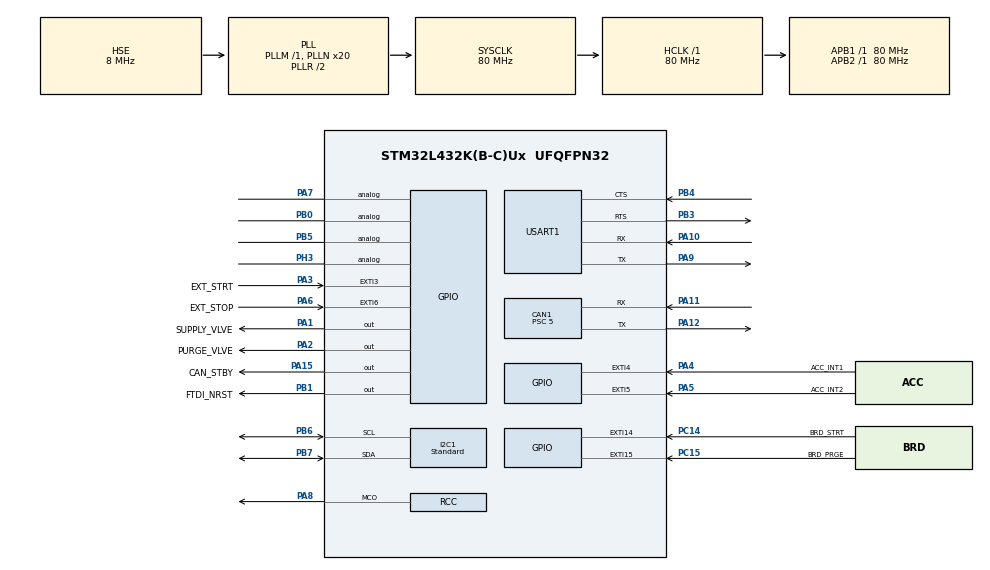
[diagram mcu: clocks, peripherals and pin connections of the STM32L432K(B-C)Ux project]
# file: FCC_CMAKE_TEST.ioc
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CAN1.BS1=CAN_BS1_11TQ
CAN1.BS2=CAN_BS2_4TQ
CAN1.CalculateBaudRate=1000000
CAN1.CalculateTimeBit=1000
CAN1.CalculateTimeQuantum=62.5
CAN1.Mode=CAN_MODE_NORMAL
CAN1.Prescaler=5
Dma.Request0=USART1_RX
Dma.Request1=USART1_TX
Dma.USART1_RX.0.Direction=DMA_PERIPH_TO_MEMORY
Dma.USART1_RX.0.Instance=DMA1_Channel5
Dma.USART1_RX.0.MemDataAlignment=DMA_MDATAALIGN_BYTE
Dma.USART1_RX.0.MemInc=DMA_MINC_ENABLE
Dma.USART1_RX.0.Mode=DMA_CIRCULAR
Dma.USART1_RX.0.PeriphDataAlignment=DMA_PDATAALIGN_BYTE
Dma.USART1_RX.0.PeriphInc=DMA_PINC_DISABLE
Dma.USART1_RX.0.Priority=DMA_PRIORITY_LOW
Dma.USART1_TX.1.Direction=DMA_MEMORY_TO_PERIPH
Dma.USART1_TX.1.Instance=DMA1_Channel4
Dma.USART1_TX.1.MemDataAlignment=DMA_MDATAALIGN_BYTE
Dma.USART1_TX.1.MemInc=DMA_MINC_ENABLE
Dma.USART1_TX.1.Mode=DMA_NORMAL
Dma.USART1_TX.1.PeriphDataAlignment=DMA_PDATAALIGN_BYTE
Dma.USART1_TX.1.PeriphInc=DMA_PINC_DISABLE
Dma.USART1_TX.1.Priority=DMA_PRIORITY_LOW
FREERTOS.BinarySemaphores01=canMsgOkSem,Dynamic,NULL
FREERTOS.Queues01=canRxDataQueue,128,uint32_t,0,Static,canRxDataQueueBuffer,canRxDataQueueControlBlock;canRxRtrQueue,128,uint32_t,0,Static,canRxRtrQueueBuffer,canRxRtrQueueControlBlock
FREERTOS.Tasks01=CanRxTask,25,128,StartCanRxTask,Default,NULL,Static,CanRxTaskBuffer,CanRxTaskControlBlock;I2cTask,26,128,StartI2cTask,Default,NULL,Static,I2cTaskBuffer,I2cTaskControlBlock;FuelCellTask,27,512,StartFuelCellTask,Default,NULL,Static,FuelCellTaskBuffer,FuelCellTaskControlBlock;CanRtrTask,28,128,StartCanRtrTask,Default,NULL,Static,CanRtrTaskBuffer,CanRtrTaskControlBlock;PurgeTask,33,128,StartPurgeTask,Default,NULL,Static,PurgeTaskBuffer,PurgeTaskControlBlock
FREERTOS.configENABLE_FPU=1
FREERTOS.configUSE_NEWLIB_REENTRANT=1
I2C1.I2C_Speed_Mode=I2C_Standard
I2C1.Timing=0x10D19CE4
Mcu.Family=STM32L4
Mcu.Name=STM32L432K(B-C)Ux
Mcu.Package=UFQFPN32
NVIC.CAN1_RX0_IRQn=true\:5\:0\:false\:false\:true\:true\:true\:true\:true
NVIC.CAN1_RX1_IRQn=true\:5\:0\:false\:false\:true\:true\:true\:true\:true
NVIC.CAN1_TX_IRQn=true\:5\:0\:false\:false\:true\:true\:true\:true\:true
NVIC.DMA1_Channel4_IRQn=true\:5\:0\:false\:false\:true\:true\:false\:true\:true
NVIC.DMA1_Channel5_IRQn=true\:5\:0\:false\:false\:true\:true\:false\:true\:true
NVIC.EXTI15_10_IRQn=true\:5\:0\:false\:false\:true\:true\:true\:true\:true
NVIC.EXTI3_IRQn=true\:5\:0\:false\:false\:true\:true\:true\:true\:true
NVIC.EXTI4_IRQn=true\:5\:0\:false\:false\:true\:true\:true\:true\:true
NVIC.EXTI9_5_IRQn=true\:5\:0\:false\:false\:true\:true\:true\:true\:true
NVIC.PriorityGroup=NVIC_PRIORITYGROUP_4
NVIC.TIM1_UP_TIM16_IRQn=true\:5\:0\:false\:false\:true\:false\:false\:true\:true
NVIC.TimeBase=TIM1_UP_TIM16_IRQn
NVIC.TimeBaseIP=TIM1
NVIC.USART1_IRQn=true\:5\:0\:false\:false\:true\:true\:true\:true\:true
PA0.Mode=HSE-External-Clock-Source-for-LittleOrca
PA0.Signal=RCC_CK_IN
PA1.GPIO_Label=SUPPLY_VLVE
PA1.GPIO_PuPd=GPIO_PULLDOWN
PA1.PinState=GPIO_PIN_RESET
PA1.Signal=GPIO_Output
PA10.Mode=Asynchronous
PA10.Signal=USART1_RX
PA11.GPIO_PuPd=GPIO_PULLUP
PA11.Mode=CAN_Activate
PA11.Signal=CAN1_RX
PA12.Mode=CAN_Activate
PA12.Signal=CAN1_TX
PA13\ (JTMS-SWDIO).Mode=Serial_Wire
PA13\ (JTMS-SWDIO).Signal=SYS_JTMS-SWDIO
PA14\ (JTCK-SWCLK).Mode=Serial_Wire
PA14\ (JTCK-SWCLK).Signal=SYS_JTCK-SWCLK
PA15\ (JTDI).GPIO_Label=CAN_STBY
PA15\ (JTDI).GPIO_PuPd=GPIO_PULLDOWN
PA15\ (JTDI).Signal=GPIO_Output
PA2.GPIO_Label=PURGE_VLVE
PA2.GPIO_PuPd=GPIO_PULLDOWN
PA2.Signal=GPIO_Output
PA3.GPIO_Label=EXT_STRT
PA3.GPIO_ModeDefaultEXTI=GPIO_MODE_IT_FALLING
PA3.GPIO_PuPd=GPIO_PULLUP
PA3.Signal=GPXTI3
PA4.GPIO_Label=ACC_INT1
PA4.GPIO_PuPd=GPIO_PULLDOWN
PA4.Signal=GPXTI4
PA5.GPIO_Label=ACC_INT2
PA5.GPIO_PuPd=GPIO_PULLDOWN
PA5.Signal=GPXTI5
PA6.GPIO_Label=EXT_STOP
PA6.GPIO_ModeDefaultEXTI=GPIO_MODE_IT_FALLING
PA6.GPIO_PuPd=GPIO_PULLUP
PA6.Signal=GPXTI6
PA7.Signal=GPIO_Analog
PA8.Mode=Clock-out
PA8.Signal=RCC_MCO
PA9.Mode=Asynchronous
PA9.Signal=USART1_TX
PB0.Signal=GPIO_Analog
PB1.GPIO_Label=FTDI_NRST
PB1.GPIO_PuPd=GPIO_PULLUP
PB1.Signal=GPIO_Output
PB3\ (JTDO-TRACESWO).Mode=CTS_RTS
PB3\ (JTDO-TRACESWO).Signal=USART1_RTS
PB4\ (NJTRST).Mode=CTS_RTS
PB4\ (NJTRST).Signal=USART1_CTS
PB5.Signal=GPIO_Analog
PB6.Mode=I2C
PB6.Signal=I2C1_SCL
PB7.Mode=I2C
PB7.Signal=I2C1_SDA
PC14-OSC32_IN\ (PC14).GPIO_Label=BRD_STRT
PC14-OSC32_IN\ (PC14).GPIO_ModeDefaultEXTI=GPIO_MODE_IT_FALLING
PC14-OSC32_IN\ (PC14).GPIO_PuPd=GPIO_PULLUP
PC14-OSC32_IN\ (PC14).Signal=GPXTI14
PC15-OSC32_OUT\ (PC15).GPIO_Label=BRD_PRGE
PC15-OSC32_OUT\ (PC15).GPIO_ModeDefaultEXTI=GPIO_MODE_IT_FALLING
PC15-OSC32_OUT\ (PC15).GPIO_PuPd=GPIO_PULLUP
PC15-OSC32_OUT\ (PC15).Signal=GPXTI15
PH3-BOOT0.Signal=GPIO_Analog
ProjectManager.HeapSize=0x200
ProjectManager.StackSize=0x400
ProjectManager.TargetToolchain=CMake
RCC.ADCFreq_Value=32000000
RCC.AHBFreq_Value=80000000
RCC.APB1Freq_Value=80000000
RCC.APB1TimFreq_Value=80000000
RCC.APB2Freq_Value=80000000
RCC.APB2TimFreq_Value=80000000
RCC.CortexFreq_Value=80000000
RCC.HCLKFreq_Value=80000000
RCC.HSE_VALUE=8000000
RCC.HSI48_VALUE=48000000
RCC.HSI_VALUE=16000000
RCC.LSE_VALUE=32768
RCC.MSI_VALUE=4000000
RCC.PLLN=20
RCC.PLLSourceVirtual=RCC_PLLSOURCE_HSE
RCC.RCC_MCO1Source=RCC_MCO1SOURCE_HSE
RCC.RCC_MCODiv=RCC_MCODIV_8
RCC.SYSCLKFreq_VALUE=80000000
RCC.SYSCLKSource=RCC_SYSCLKSOURCE_PLLCLK
RCC.USBFreq_Value=32000000
RCC.VCOOutputFreq_Value=160000000
USART1.VirtualMode-Asynchronous=VM_ASYNC
VP_FREERTOS_VS_CMSIS_V2.Mode=CMSIS_V2
VP_SYS_VS_tim1.Mode=TIM1
board=custom

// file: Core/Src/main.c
/* USER CODE BEGIN Header */
/**
 ******************************************************************************
 * @file           : main.c
 * @brief          : Main program body
 ******************************************************************************
 * @attention
 *
 * Copyright (c) 2023 STMicroelectronics.
 * All rights reserved.
 *
 * This software is licensed under terms that can be found in the LICENSE file
 * in the root directory of this software component.
 * If no LICENSE file comes with this software, it is provided AS-IS.
 *
 ******************************************************************************
 */
/* USER CODE END Header */
#include "main.h"
#include "cmsis_os.h"

/* USER CODE BEGIN Includes */
#include "ADS1115.h"
#include "canid.h"
#include "cmsis_os2.h"
#include "lis3dh_driver.h"
#include "stm32l4xx_hal.h"
#include "stm32l4xx_hal_can.h"
#include "stm32l4xx_hal_def.h"
#include "stm32l4xx_hal_gpio.h"
#include "stm32l4xx_hal_i2c.h"
#include <math.h>
#include <stdint.h>
#include <stdio.h>
#include <string.h>
/* USER CODE END Includes */

typedef StaticTask_t osStaticThreadDef_t;
typedef StaticQueue_t osStaticMessageQDef_t;
/* USER CODE BEGIN PTD */
#define ALL_RELAY_OFF 0x00
#define CHRGE_RELAY 0x01
#define RES_RELAY 0x02
#define DSCHRGE_RELAY 0x04
#define MTR_RELAY 0x08

typedef struct {
  uint32_t RELAY_STBY;
  uint32_t RELAY_STRTP;
  uint32_t RELAY_CHRGE;
  uint32_t RELAY_RUN;
} rbState_t;

typedef enum {
  FUEL_CELL_OFF_STATE = 0x00,
  FUEL_CELL_STRTUP_STATE = 0x01,
  FUEL_CELL_CHRGE_STATE = 0x02,
  FUEL_CELL_RUN_STATE = 0x04
} fcState_t;

typedef struct {
  float x, y, z;
  float accelMag[64];
  float accelAvg;
  float velocity;
} accData_t;

typedef struct {
  uint8_t purge_state, supply_state;
  float internal_stack_temp, internal_stack_pressure;
} fcData_t;

typedef struct {
  uint32_t H2_OK;
  float cap_voltage;
  float cap_curr;
  float fc_voltage;
  float fc_curr;
} canData_t;
/* USER CODE END PTD */

/* USER CODE BEGIN PD */
#define CAN_MESSAGE_SENT_TIMEOUT_MS 500
#define CAN_ADD_TX_TIMEOUT_MS 500

#define FULL_CAP_CHARGE_V 20
#define PURGE_PERIOD 180000 // 3 minutes
#define PURGE_TIME 100      // 100 ms

#define CAN_TX_MAILBOX_NONE 0x00000000U // Remove reference to tx mailbox
/* USER CODE END PD */

CAN_HandleTypeDef hcan1;

I2C_HandleTypeDef hi2c1;

UART_HandleTypeDef huart1;
DMA_HandleTypeDef hdma_usart1_rx;
DMA_HandleTypeDef hdma_usart1_tx;

/* Definitions for CanRxTask */
osThreadId_t CanRxTaskHandle;
uint32_t CanRxTaskBuffer[128];
osStaticThreadDef_t CanRxTaskControlBlock;
const osThreadAttr_t CanRxTask_attributes = {
    .name = "CanRxTask",
    .cb_mem = &CanRxTaskControlBlock,
    .cb_size = sizeof(CanRxTaskControlBlock),
    .stack_mem = &CanRxTaskBuffer[0],
    .stack_size = sizeof(CanRxTaskBuffer),
    .priority = (osPriority_t)osPriorityNormal1,
};
/* Definitions for I2cTask */
osThreadId_t I2cTaskHandle;
uint32_t I2cTaskBuffer[128 * 5];
osStaticThreadDef_t I2cTaskControlBlock;
const osThreadAttr_t I2cTask_attributes = {
    .name = "I2cTask",
    .cb_mem = &I2cTaskControlBlock,
    .cb_size = sizeof(I2cTaskControlBlock),
    .stack_mem = &I2cTaskBuffer[0],
    .stack_size = sizeof(I2cTaskBuffer),
    .priority = (osPriority_t)osPriorityNormal2,
};
/* Definitions for FuelCellTask */
osThreadId_t FuelCellTaskHandle;
uint32_t FuelCellTaskBuffer[512];
osStaticThreadDef_t FuelCellTaskControlBlock;
const osThreadAttr_t FuelCellTask_attributes = {
    .name = "FuelCellTask",
    .cb_mem = &FuelCellTaskControlBlock,
    .cb_size = sizeof(FuelCellTaskControlBlock),
    .stack_mem = &FuelCellTaskBuffer[0],
    .stack_size = sizeof(FuelCellTaskBuffer),
    .priority = (osPriority_t)osPriorityNormal3,
};
/* Definitions for CanRtrTask */
osThreadId_t CanRtrTaskHandle;
uint32_t CanRtrTaskBuffer[128];
osStaticThreadDef_t CanRtrTaskControlBlock;
const osThreadAttr_t CanRtrTask_attributes = {
    .name = "CanRtrTask",
    .cb_mem = &CanRtrTaskControlBlock,
    .cb_size = sizeof(CanRtrTaskControlBlock),
    .stack_mem = &CanRtrTaskBuffer[0],
    .stack_size = sizeof(CanRtrTaskBuffer),
    .priority = (osPriority_t)osPriorityNormal4,
};
/* Definitions for PurgeTask */
osThreadId_t PurgeTaskHandle;
uint32_t PurgeTaskBuffer[128];
osStaticThreadDef_t PurgeTaskControlBlock;
const osThreadAttr_t PurgeTask_attributes = {
    .name = "PurgeTask",
    .cb_mem = &PurgeTaskControlBlock,
    .cb_size = sizeof(PurgeTaskControlBlock),
    .stack_mem = &PurgeTaskBuffer[0],
    .stack_size = sizeof(PurgeTaskBuffer),
    .priority = (osPriority_t)osPriorityAboveNormal1,
};
/* Definitions for canRxDataQueue */
osMessageQueueId_t canRxDataQueueHandle;
uint8_t canRxDataQueueBuffer[128 * sizeof(uint32_t)];
osStaticMessageQDef_t canRxDataQueueControlBlock;
const osMessageQueueAttr_t canRxDataQueue_attributes = {
    .name = "canRxDataQueue",
    .cb_mem = &canRxDataQueueControlBlock,
    .cb_size = sizeof(canRxDataQueueControlBlock),
    .mq_mem = &canRxDataQueueBuffer,
    .mq_size = sizeof(canRxDataQueueBuffer)};
/* Definitions for canRxRtrQueue */
osMessageQueueId_t canRxRtrQueueHandle;
uint8_t canRxRtrQueueBuffer[128 * sizeof(uint32_t)];
osStaticMessageQDef_t canRxRtrQueueControlBlock;
const osMessageQueueAttr_t canRxRtrQueue_attributes = {
    .name = "canRxRtrQueue",
    .cb_mem = &canRxRtrQueueControlBlock,
    .cb_size = sizeof(canRxRtrQueueControlBlock),
    .mq_mem = &canRxRtrQueueBuffer,
    .mq_size = sizeof(canRxRtrQueueBuffer)};
/* Definitions for canMsgOkSem */
osSemaphoreId_t canMsgOkSemHandle;
const osSemaphoreAttr_t canMsgOkSem_attributes = {.name = "canMsgOkSem"};
/* USER CODE BEGIN PV */
osSemaphoreId_t relayUpdateConfirmedHandle;
const osSemaphoreAttr_t relayUpdateConfirmed_attributes = {
    .name = "relayUpdateConfirmed"};

osSemaphoreId_t purgeSemHandle;
const osSemaphoreAttr_t purgeSemHandle_attributes = {.name = "purgeSem"};

rbState_t rb_state = {
    ALL_RELAY_OFF,
    RES_RELAY | DSCHRGE_RELAY,
    RES_RELAY,
    CHRGE_RELAY | DSCHRGE_RELAY | MTR_RELAY,
};

fcState_t fc_state = FUEL_CELL_OFF_STATE;

// Initialize the struct values to zero
canData_t canData = {0, 0.00F, 0.00F, 0.00F, 0.00F};
fcData_t fcData = {0, 0, 0.00F, 0.00F};

accData_t accelData = {0};

CAN_RxHeaderTypeDef RxHeader;
uint8_t RxData[8];

uint32_t TxMailboxFuelCellTask;
uint32_t TxMailboxCanTask;

uint8_t RxUARTbuff;
uint8_t RxUARTData[32];
uint8_t UartIndex = 0;

uint32_t button_debounce[4];

uint32_t lockout_parameter = 0;

uint32_t error_counter = 0;
/* USER CODE END PV */

void SystemClock_Config(void);
static void MX_GPIO_Init(void);
static void MX_DMA_Init(void);
static void MX_CAN1_Init(void);
static void MX_I2C1_Init(void);
static void MX_USART1_UART_Init(void);
void StartCanRxTask(void *argument);
void StartI2cTask(void *argument);
void StartFuelCellTask(void *argument);
void StartCanRtrTask(void *argument);
void StartPurgeTask(void *argument);

/* USER CODE BEGIN PFP */
int _write(int file, char *ptr, int len) {
  HAL_UART_Transmit(&huart1, (uint8_t *)ptr, len, HAL_MAX_DELAY);
  return len;
}

void HAL_CAN_RxFifo0MsgPendingCallback(CAN_HandleTypeDef *hcan) {
  HAL_CAN_GetRxMessage(hcan, CAN_RX_FIFO0, &RxHeader, RxData);
  if (RxHeader.RTR == CAN_RTR_REMOTE) {
    osMessageQueuePut(canRxRtrQueueHandle, &RxHeader.StdId, 0U, 0UL);
  } else {
    osMessageQueuePut(canRxDataQueueHandle, &RxHeader.StdId, 0U, 0UL);
    // Data request, don't add anything else to queue
    if (RxHeader.DLC <= 4UL) {
      osMessageQueuePut(canRxDataQueueHandle, RxData, 0U, 0UL);
    } else {
      osMessageQueuePut(canRxDataQueueHandle, RxData, 0U, 0UL);
      osMessageQueuePut(canRxDataQueueHandle, &RxData[4], 0U, 0UL);
    }
  }
}

// void HAL_CAN_RxFifo1MsgPendingCallback(CAN_HandleTypeDef *hcan) {
//   HAL_CAN_GetRxMessage(hcan, CAN_RX_FIFO1, &RxHeader, RxData);
//   osMessageQueuePut(canRxQueueHandle, &RxHeader.StdId, 0U, 0UL);
//   // need condition for either 4 byte or 8 byte
//   if (RxHeader.DLC == 0UL) {
//     // Data request, don't add anything else to queue
//   } else if (RxHeader.DLC <= 4UL) {
//     osMessageQueuePut(canRxQueueHandle, RxData, 0U, 0UL);
//   } else {
//     osMessageQueuePut(canRxQueueHandle, RxData, 0U, 0UL);
//     osMessageQueuePut(canRxQueueHandle, &RxData[4], 0U, 0UL);
//   }
// }

/* Transmit Completed Callbacks for Message Sent Confirmations */
void HAL_CAN_TxMailbox0CompleteCallback(CAN_HandleTypeDef *hcan) {
  if (TxMailboxFuelCellTask == CAN_TX_MAILBOX0) {
    TxMailboxFuelCellTask = CAN_TX_MAILBOX_NONE;
    osSemaphoreRelease(canMsgOkSemHandle);
  }
}
void HAL_CAN_TxMailbox1CompleteCallback(CAN_HandleTypeDef *hcan) {
  if (TxMailboxFuelCellTask == CAN_TX_MAILBOX1) {
    TxMailboxFuelCellTask = CAN_TX_MAILBOX_NONE;
    osSemaphoreRelease(canMsgOkSemHandle);
  }
}
void HAL_CAN_TxMailbox2CompleteCallback(CAN_HandleTypeDef *hcan) {
  if (TxMailboxFuelCellTask == CAN_TX_MAILBOX2) {
    TxMailboxFuelCellTask = CAN_TX_MAILBOX_NONE;
    osSemaphoreRelease(canMsgOkSemHandle);
  }
}

void HAL_UART_RxCpltCallback(UART_HandleTypeDef *huart) {
  if (RxUARTbuff == (char)0x04) {
    HAL_UART_Transmit_DMA(huart, RxUARTData, UartIndex);
    UartIndex = 0;
  } else {
    RxUARTData[UartIndex] = RxUARTbuff;
    if (UartIndex == (sizeof(RxUARTData) - 1)) {
      UartIndex = 0;
    } else {
      UartIndex++;
    }
  }
  HAL_UART_Receive_DMA(huart, &RxUARTbuff, 1U);
}

void HAL_GPIO_EXTI_Callback(uint16_t GPIO_Pin) {
  switch (GPIO_Pin) {
  case BRD_STRT_Pin:
    if (HAL_GetTick() - button_debounce[0] > 1000) {
      if (fc_state & (FUEL_CELL_STRTUP_STATE | FUEL_CELL_CHRGE_STATE |
                      FUEL_CELL_RUN_STATE)) // If fc_state is non-zero
      {
        button_debounce[0] = HAL_GetTick();
        fc_state = FUEL_CELL_OFF_STATE;
      } else {
        button_debounce[0] = HAL_GetTick();
        if (lockout_parameter == 0) {
          fc_state = FUEL_CELL_STRTUP_STATE;
        }
      }
    }
    break;
  case BRD_PRGE_Pin:
    if (HAL_GetTick() - button_debounce[1] > 1000) {
      button_debounce[1] = HAL_GetTick();
      osSemaphoreRelease(purgeSemHandle);
    }
    break;
  case EXT_STRT_Pin:
    if (HAL_GetTick() - button_debounce[2] > 1000) {
      if (fc_state & (FUEL_CELL_STRTUP_STATE | FUEL_CELL_CHRGE_STATE |
                      FUEL_CELL_RUN_STATE)) {
        button_debounce[2] = HAL_GetTick();
        fc_state = FUEL_CELL_OFF_STATE;
      } else {
        button_debounce[2] = HAL_GetTick();
        if (lockout_parameter == 0) {
          fc_state = FUEL_CELL_STRTUP_STATE;
        }
      }
    }
    break;
  case ACC_INT1_Pin:
    /* Do something */
    break;
  case ACC_INT2_Pin:
    /* Do something */
    break;
  case EXT_STOP_Pin:
    if (HAL_GetTick() - button_debounce[3] > 1000) {
      button_debounce[3] = HAL_GetTick();
      fc_state = FUEL_CELL_OFF_STATE;
      lockout_parameter = 1;
    }
    break;
  default:
    /* Should never happen */
    break;
  }
}

HAL_StatusTypeDef HAL_CAN_SafeAddTxMessage(uint8_t *msg, uint32_t msg_id,
                                           uint32_t msg_length,
                                           uint32_t *TxMailbox, uint32_t rtr) {
  uint32_t fc_tick;
  HAL_StatusTypeDef hal_stat;
  CAN_TxHeaderTypeDef TxHeader;

  // These will never change
  TxHeader.IDE = CAN_ID_STD;
  TxHeader.ExtId = 0;
  TxHeader.TransmitGlobalTime = DISABLE;

  // User will give us this information
  TxHeader.RTR = rtr;
  TxHeader.StdId = msg_id;
  TxHeader.DLC = msg_length;

  // Start a timer to check timeout conditions
  fc_tick = HAL_GetTick();

  /* Try to add a Tx message. Returns HAL_ERROR if there are no avail
   * mailboxes or if the peripheral is not initialized. */
  do {
    hal_stat = HAL_CAN_AddTxMessage(&hcan1, &TxHeader, msg, TxMailbox);
  } while (hal_stat != HAL_OK &&
           (HAL_GetTick() - fc_tick < CAN_ADD_TX_TIMEOUT_MS));

  return hal_stat;
}
/* USER CODE END PFP */

/* USER CODE BEGIN 0 */
ADS1115_Config_t configReg;
ADS1115_Handle_t *pADS_1;

#define ADS1115_ADR1 0x48
#define ADS1115_ADR2 0x49
/* USER CODE END 0 */

int main(void) {

  /* MCU Configuration--------------------------------------------------------*/

  /* Reset of all peripherals, Initializes the Flash interface and the Systick.
   */
  HAL_Init();

  /* Configure the system clock */
  SystemClock_Config();

  /* Initialize all configured peripherals */
  MX_GPIO_Init();
  MX_DMA_Init();
  MX_CAN1_Init();
  MX_I2C1_Init();
  MX_USART1_UART_Init();
  /* USER CODE BEGIN 2 */
  HAL_CAN_Start(&hcan1);

  button_debounce[0] = button_debounce[1] = button_debounce[2] =
      button_debounce[3] = HAL_GetTick();
  HAL_GPIO_WritePin(FTDI_NRST_GPIO_Port, FTDI_NRST_Pin, GPIO_PIN_SET);

  HAL_UART_Receive_DMA(&huart1, &RxUARTbuff, 1U);

  // Set up config parameters for ADS1115 chip before sending
  configReg.channel = CHANNEL_AIN0_GND;
  configReg.pgaConfig = PGA_4_096;
  configReg.operatingMode = MODE_CONTINOUS;
  configReg.dataRate = DRATE_128;
  configReg.compareMode = COMP_HYSTERESIS;
  configReg.polarityMode = POLARITY_ACTIVE_LOW;
  configReg.latchingMode = LATCHING_NONE;
  configReg.queueComparator = QUEUE_ONE;

  // NOTE: This init function uses malloc and must be called before the
  // scheduler
  pADS_1 = ADS1115_init(&hi2c1, (uint16_t)ADS1115_ADR1, configReg);
  ADS1115_updateConfig(pADS_1, configReg);
  ADS1115_setConversionReadyPin(pADS_1);

  // Set up code for second ADC
  // Needs to be verified
  // pADS_2 = ADS1115_init(&hi2c1, (uint16_t)ADS1115_ADR2, configReg);
  // ADS1115_updateConfig(pADS_2, configReg);
  // ADS1115_setConversionReadyPin(pADS_2);

  /* USER CODE END 2 */

  /* Init scheduler */
  osKernelInitialize();

  /* Create the semaphores(s) */
  /* creation of canMsgOkSem */
  canMsgOkSemHandle = osSemaphoreNew(1, 0, &canMsgOkSem_attributes);

  /* USER CODE BEGIN RTOS_SEMAPHORES */
  relayUpdateConfirmedHandle =
      osSemaphoreNew(1, 0, &relayUpdateConfirmed_attributes);
  purgeSemHandle = osSemaphoreNew(1, 0, &purgeSemHandle_attributes);
  /* add semaphores, ... */
  /* USER CODE END RTOS_SEMAPHORES */

  /* Create the queue(s) */
  /* creation of canRxDataQueue */
  canRxDataQueueHandle =
      osMessageQueueNew(128, sizeof(uint32_t), &canRxDataQueue_attributes);

  /* creation of canRxRtrQueue */
  canRxRtrQueueHandle =
      osMessageQueueNew(128, sizeof(uint32_t), &canRxRtrQueue_attributes);

  /* Create the thread(s) */
  /* creation of CanRxTask */
  CanRxTaskHandle = osThreadNew(StartCanRxTask, NULL, &CanRxTask_attributes);

  /* creation of I2cTask */
  I2cTaskHandle = osThreadNew(StartI2cTask, NULL, &I2cTask_attributes);

  /* creation of FuelCellTask */
  FuelCellTaskHandle =
      osThreadNew(StartFuelCellTask, NULL, &FuelCellTask_attributes);

  /* creation of CanRtrTask */
  CanRtrTaskHandle = osThreadNew(StartCanRtrTask, NULL, &CanRtrTask_attributes);

  /* creation of PurgeTask */
  PurgeTaskHandle = osThreadNew(StartPurgeTask, NULL, &PurgeTask_attributes);

  /* Start scheduler */
  osKernelStart();

  /* We should never get here as control is now taken by the scheduler */
  /* Infinite loop */
  while (1) {

  }
}

void SystemClock_Config(void) {
  RCC_OscInitTypeDef RCC_OscInitStruct = {0};
  RCC_ClkInitTypeDef RCC_ClkInitStruct = {0};

  /** Configure the main internal regulator output voltage
   */
  if (HAL_PWREx_ControlVoltageScaling(PWR_REGULATOR_VOLTAGE_SCALE1) != HAL_OK) {
    Error_Handler();
  }

  /** Initializes the RCC Oscillators according to the specified parameters
   * in the RCC_OscInitTypeDef structure.
   */
  RCC_OscInitStruct.OscillatorType = RCC_OSCILLATORTYPE_HSE;
  RCC_OscInitStruct.HSEState = RCC_HSE_BYPASS;
  RCC_OscInitStruct.PLL.PLLState = RCC_PLL_ON;
  RCC_OscInitStruct.PLL.PLLSource = RCC_PLLSOURCE_HSE;
  RCC_OscInitStruct.PLL.PLLM = 1;
  RCC_OscInitStruct.PLL.PLLN = 20;
  RCC_OscInitStruct.PLL.PLLP = RCC_PLLP_DIV7;
  RCC_OscInitStruct.PLL.PLLQ = RCC_PLLQ_DIV2;
  RCC_OscInitStruct.PLL.PLLR = RCC_PLLR_DIV2;
  if (HAL_RCC_OscConfig(&RCC_OscInitStruct) != HAL_OK) {
    Error_Handler();
  }

  /** Initializes the CPU, AHB and APB buses clocks
   */
  RCC_ClkInitStruct.ClockType = RCC_CLOCKTYPE_HCLK | RCC_CLOCKTYPE_SYSCLK |
                                RCC_CLOCKTYPE_PCLK1 | RCC_CLOCKTYPE_PCLK2;
  RCC_ClkInitStruct.SYSCLKSource = RCC_SYSCLKSOURCE_PLLCLK;
  RCC_ClkInitStruct.AHBCLKDivider = RCC_SYSCLK_DIV1;
  RCC_ClkInitStruct.APB1CLKDivider = RCC_HCLK_DIV1;
  RCC_ClkInitStruct.APB2CLKDivider = RCC_HCLK_DIV1;

  if (HAL_RCC_ClockConfig(&RCC_ClkInitStruct, FLASH_LATENCY_4) != HAL_OK) {
    Error_Handler();
  }
  HAL_RCC_MCOConfig(RCC_MCO1, RCC_MCO1SOURCE_HSE, RCC_MCODIV_8);
}

static void MX_CAN1_Init(void) {

  hcan1.Instance = CAN1;
  hcan1.Init.Prescaler = 5;
  hcan1.Init.Mode = CAN_MODE_NORMAL;
  hcan1.Init.SyncJumpWidth = CAN_SJW_1TQ;
  hcan1.Init.TimeSeg1 = CAN_BS1_11TQ;
  hcan1.Init.TimeSeg2 = CAN_BS2_4TQ;
  hcan1.Init.TimeTriggeredMode = DISABLE;
  hcan1.Init.AutoBusOff = DISABLE;
  hcan1.Init.AutoWakeUp = DISABLE;
  hcan1.Init.AutoRetransmission = DISABLE;
  hcan1.Init.ReceiveFifoLocked = DISABLE;
  hcan1.Init.TransmitFifoPriority = DISABLE;
  if (HAL_CAN_Init(&hcan1) != HAL_OK) {
    Error_Handler();
  }
  /* USER CODE BEGIN CAN1_Init 2 */
  CAN_FilterTypeDef sf;
  // Accept StdID 0x101 to 0x103
  sf.FilterIdHigh = 0x101 << 5;
  sf.FilterMaskIdHigh = 0x7FC << 5;
  sf.FilterIdLow = 0x0000;
  sf.FilterMaskIdLow = 0x0000;
  sf.FilterFIFOAssignment = CAN_FILTER_FIFO0;
  sf.FilterBank = 0;
  sf.FilterMode = CAN_FILTERMODE_IDMASK;
  sf.FilterScale = CAN_FILTERSCALE_32BIT;
  sf.FilterActivation = CAN_FILTER_ENABLE;
  if (HAL_CAN_ConfigFilter(&hcan1, &sf) != HAL_OK) {
    Error_Handler();
  }
  // Accept 0x000 to 0x00F
  sf.FilterIdHigh = 0x000 << 5;
  sf.FilterMaskIdHigh = 0x7F0 << 5;
  sf.FilterIdLow = 0x0000;
  sf.FilterMaskIdLow = 0x0000;
  sf.FilterFIFOAssignment = CAN_FILTER_FIFO0;
  sf.FilterBank = 1;
  sf.FilterMode = CAN_FILTERMODE_IDMASK;
  sf.FilterScale = CAN_FILTERSCALE_32BIT;
  sf.FilterActivation = CAN_FILTER_ENABLE;
  if (HAL_CAN_ConfigFilter(&hcan1, &sf) != HAL_OK) {
    Error_Handler();
  }
  // Accept StdID 0x201
  sf.FilterIdHigh = 0x201 << 5;
  sf.FilterMaskIdHigh = 0x7FF << 5;
  sf.FilterIdLow = 0x0000;
  sf.FilterMaskIdLow = 0x0000;
  sf.FilterFIFOAssignment = CAN_FILTER_FIFO0;
  sf.FilterBank = 3;
  sf.FilterMode = CAN_FILTERMODE_IDMASK;
  sf.FilterScale = CAN_FILTERSCALE_32BIT;
  sf.FilterActivation = CAN_FILTER_ENABLE;
  if (HAL_CAN_ConfigFilter(&hcan1, &sf) != HAL_OK) {
    Error_Handler();
  }
  // Accept StdID 0x106
  sf.FilterIdHigh = 0x106 << 5;
  sf.FilterMaskIdHigh = 0x7FF << 5;
  sf.FilterIdLow = 0x0000;
  sf.FilterMaskIdLow = 0x0000;
  sf.FilterFIFOAssignment = CAN_FILTER_FIFO0;
  sf.FilterBank = 4;
  sf.FilterMode = CAN_FILTERMODE_IDMASK;
  sf.FilterScale = CAN_FILTERSCALE_32BIT;
  sf.FilterActivation = CAN_FILTER_ENABLE;
  if (HAL_CAN_ConfigFilter(&hcan1, &sf) != HAL_OK) {
    Error_Handler();
  }
  /* USER CODE END CAN1_Init 2 */
}

static void MX_I2C1_Init(void) {

  hi2c1.Instance = I2C1;
  hi2c1.Init.Timing = 0x10909CEC;
  hi2c1.Init.OwnAddress1 = 0;
  hi2c1.Init.AddressingMode = I2C_ADDRESSINGMODE_7BIT;
  hi2c1.Init.DualAddressMode = I2C_DUALADDRESS_DISABLE;
  hi2c1.Init.OwnAddress2 = 0;
  hi2c1.Init.OwnAddress2Masks = I2C_OA2_NOMASK;
  hi2c1.Init.GeneralCallMode = I2C_GENERALCALL_DISABLE;
  hi2c1.Init.NoStretchMode = I2C_NOSTRETCH_DISABLE;
  if (HAL_I2C_Init(&hi2c1) != HAL_OK) {
    Error_Handler();
  }

  /** Configure Analogue filter
   */
  if (HAL_I2CEx_ConfigAnalogFilter(&hi2c1, I2C_ANALOGFILTER_ENABLE) != HAL_OK) {
    Error_Handler();
  }

  /** Configure Digital filter
   */
  if (HAL_I2CEx_ConfigDigitalFilter(&hi2c1, 0) != HAL_OK) {
    Error_Handler();
  }
}

static void MX_USART1_UART_Init(void) {

  huart1.Instance = USART1;
  huart1.Init.BaudRate = 115200;
  huart1.Init.WordLength = UART_WORDLENGTH_8B;
  huart1.Init.StopBits = UART_STOPBITS_1;
  huart1.Init.Parity = UART_PARITY_NONE;
  huart1.Init.Mode = UART_MODE_TX_RX;
  huart1.Init.HwFlowCtl = UART_HWCONTROL_NONE;
  huart1.Init.OverSampling = UART_OVERSAMPLING_16;
  huart1.Init.OneBitSampling = UART_ONE_BIT_SAMPLE_DISABLE;
  huart1.AdvancedInit.AdvFeatureInit = UART_ADVFEATURE_NO_INIT;
  if (HAL_UART_Init(&huart1) != HAL_OK) {
    Error_Handler();
  }
}

static void MX_DMA_Init(void) {

  /* DMA controller clock enable */
  __HAL_RCC_DMA1_CLK_ENABLE();

  /* DMA interrupt init */
  /* DMA1_Channel4_IRQn interrupt configuration */
  HAL_NVIC_SetPriority(DMA1_Channel4_IRQn, 5, 0);
  HAL_NVIC_EnableIRQ(DMA1_Channel4_IRQn);
  /* DMA1_Channel5_IRQn interrupt configuration */
  HAL_NVIC_SetPriority(DMA1_Channel5_IRQn, 5, 0);
  HAL_NVIC_EnableIRQ(DMA1_Channel5_IRQn);
}

static void MX_GPIO_Init(void) {
  GPIO_InitTypeDef GPIO_InitStruct = {0};

  /* GPIO Ports Clock Enable */
  __HAL_RCC_GPIOC_CLK_ENABLE();
  __HAL_RCC_GPIOA_CLK_ENABLE();
  __HAL_RCC_GPIOB_CLK_ENABLE();
  __HAL_RCC_GPIOH_CLK_ENABLE();

  /*Configure GPIO pin Output Level */
  HAL_GPIO_WritePin(GPIOA, SUPPLY_VLVE_Pin | PURGE_VLVE_Pin | CAN_STBY_Pin,
                    GPIO_PIN_RESET);

  /*Configure GPIO pin Output Level */
  HAL_GPIO_WritePin(FTDI_NRST_GPIO_Port, FTDI_NRST_Pin, GPIO_PIN_RESET);

  /*Configure GPIO pins : BRD_STRT_Pin BRD_PRGE_Pin */
  GPIO_InitStruct.Pin = BRD_STRT_Pin | BRD_PRGE_Pin;
  GPIO_InitStruct.Mode = GPIO_MODE_IT_FALLING;
  GPIO_InitStruct.Pull = GPIO_PULLUP;
  HAL_GPIO_Init(GPIOC, &GPIO_InitStruct);

  /*Configure GPIO pins : SUPPLY_VLVE_Pin PURGE_VLVE_Pin CAN_STBY_Pin */
  GPIO_InitStruct.Pin = SUPPLY_VLVE_Pin | PURGE_VLVE_Pin | CAN_STBY_Pin;
  GPIO_InitStruct.Mode = GPIO_MODE_OUTPUT_PP;
  GPIO_InitStruct.Pull = GPIO_PULLDOWN;
  GPIO_InitStruct.Speed = GPIO_SPEED_FREQ_LOW;
  HAL_GPIO_Init(GPIOA, &GPIO_InitStruct);

  /*Configure GPIO pins : EXT_STRT_Pin EXT_STOP_Pin */
  GPIO_InitStruct.Pin = EXT_STRT_Pin | EXT_STOP_Pin;
  GPIO_InitStruct.Mode = GPIO_MODE_IT_FALLING;
  GPIO_InitStruct.Pull = GPIO_PULLUP;
  HAL_GPIO_Init(GPIOA, &GPIO_InitStruct);

  /*Configure GPIO pins : ACC_INT1_Pin ACC_INT2_Pin */
  GPIO_InitStruct.Pin = ACC_INT1_Pin | ACC_INT2_Pin;
  GPIO_InitStruct.Mode = GPIO_MODE_IT_RISING;
  GPIO_InitStruct.Pull = GPIO_PULLDOWN;
  HAL_GPIO_Init(GPIOA, &GPIO_InitStruct);

  /*Configure GPIO pin : PA7 */
  GPIO_InitStruct.Pin = GPIO_PIN_7;
  GPIO_InitStruct.Mode = GPIO_MODE_ANALOG;
  GPIO_InitStruct.Pull = GPIO_NOPULL;
  HAL_GPIO_Init(GPIOA, &GPIO_InitStruct);

  /*Configure GPIO pins : PB0 PB5 */
  GPIO_InitStruct.Pin = GPIO_PIN_0 | GPIO_PIN_5;
  GPIO_InitStruct.Mode = GPIO_MODE_ANALOG;
  GPIO_InitStruct.Pull = GPIO_NOPULL;
  HAL_GPIO_Init(GPIOB, &GPIO_InitStruct);

  /*Configure GPIO pin : FTDI_NRST_Pin */
  GPIO_InitStruct.Pin = FTDI_NRST_Pin;
  GPIO_InitStruct.Mode = GPIO_MODE_OUTPUT_PP;
  GPIO_InitStruct.Pull = GPIO_PULLUP;
  GPIO_InitStruct.Speed = GPIO_SPEED_FREQ_LOW;
  HAL_GPIO_Init(FTDI_NRST_GPIO_Port, &GPIO_InitStruct);

  /*Configure GPIO pin : PA8 */
  GPIO_InitStruct.Pin = GPIO_PIN_8;
  GPIO_InitStruct.Mode = GPIO_MODE_AF_PP;
  GPIO_InitStruct.Pull = GPIO_NOPULL;
  GPIO_InitStruct.Speed = GPIO_SPEED_FREQ_LOW;
  GPIO_InitStruct.Alternate = GPIO_AF0_MCO;
  HAL_GPIO_Init(GPIOA, &GPIO_InitStruct);

  /*Configure GPIO pin : PH3 */
  GPIO_InitStruct.Pin = GPIO_PIN_3;
  GPIO_InitStruct.Mode = GPIO_MODE_ANALOG;
  GPIO_InitStruct.Pull = GPIO_NOPULL;
  HAL_GPIO_Init(GPIOH, &GPIO_InitStruct);

  /* EXTI interrupt init*/
  HAL_NVIC_SetPriority(EXTI3_IRQn, 5, 0);
  HAL_NVIC_EnableIRQ(EXTI3_IRQn);

  HAL_NVIC_SetPriority(EXTI4_IRQn, 5, 0);
  HAL_NVIC_EnableIRQ(EXTI4_IRQn);

  HAL_NVIC_SetPriority(EXTI9_5_IRQn, 5, 0);
  HAL_NVIC_EnableIRQ(EXTI9_5_IRQn);

  HAL_NVIC_SetPriority(EXTI15_10_IRQn, 5, 0);
  HAL_NVIC_EnableIRQ(EXTI15_10_IRQn);

}

/* USER CODE BEGIN 4 */
volatile uint8_t latest_voltage_got = 0;
uint32_t QueueSizeLeft[2];
/* USER CODE END 4 */

void StartCanRxTask(void *argument) {
  /* USER CODE BEGIN 5 */
  UNUSED(argument);

  HAL_CAN_ActivateNotification(&hcan1, CAN_IT_RX_FIFO0_MSG_PENDING);
  HAL_CAN_ActivateNotification(&hcan1, CAN_IT_RX_FIFO1_MSG_PENDING);
  HAL_CAN_ActivateNotification(&hcan1, CAN_IT_TX_MAILBOX_EMPTY);

#define RELAY_CONFIG_CONFIRMED 1
#define H2_ALARM_HIGH 1

  /* Infinite loop */
  uint32_t queueData = 0;
  for (;;) {
    if (osMessageQueueGet(canRxDataQueueHandle, &queueData, 0U,
                          osWaitForever) == osOK) {
      switch (queueData) {
      case CAPACITOR_PACKET:
        osMessageQueueGet(canRxDataQueueHandle, &queueData, 0U, 100UL);
        memcpy(&canData.cap_voltage, &queueData, sizeof(uint32_t));
        osMessageQueueGet(canRxDataQueueHandle, &queueData, 0U, 100UL);
        memcpy(&canData.cap_curr, &queueData, sizeof(uint32_t));
        latest_voltage_got = 1;
        break;
      case RELAY_CONFIGURATION_PACKET:
        osMessageQueueGet(canRxDataQueueHandle, &queueData, 0U, 100UL);
        if (queueData == RELAY_CONFIG_CONFIRMED) {
          osSemaphoreRelease(relayUpdateConfirmedHandle);
        }
        break;
      case H2_ALARM:
        osMessageQueueGet(canRxDataQueueHandle, &queueData, 0U, 100UL);
        memcpy(&canData.H2_OK, &queueData, sizeof(uint32_t));
        if (canData.H2_OK == H2_ALARM_HIGH) {
          fc_state = FUEL_CELL_OFF_STATE;
          lockout_parameter = H2_ALARM_HIGH;
        }
        break;
      case FUEL_CELL_PACKET:
        osMessageQueueGet(canRxDataQueueHandle, &queueData, 0U, 100UL);
        memcpy(&canData.fc_voltage, &queueData, sizeof(uint32_t));
        osMessageQueueGet(canRxDataQueueHandle, &queueData, 0U, 100UL);
        memcpy(&canData.fc_curr, &queueData, sizeof(uint32_t));
      default:
        break;
      }
    }
    osDelay(10);
  }
  /* USER CODE END 5 */
}

void StartI2cTask(void *argument) {
  /* USER CODE BEGIN StartI2cTask */
  UNUSED(argument);

#define DELAY_FOR_CHANNEL_SWITCH 20
#define B 3950.0f
#define VOLT_2_TEMP(x)                                                         \
  (B * 298.15f /                                                               \
   (298.15f * logf(100.0f / (100.0f * (3.3f / x - 1.0f))) + B)) -              \
      273.15f
#define VOLT_2_PRES(x) (x - 2.3555F) / 0.1038F

  const float VOLT_CONVERSION = 4.094F / 32768.0F;
  const float TRANSFER_FUNC_P = 0.657F;
  const float MEAS_TO_ACCEL = 9.81F / 16000.0F;

  fcData.internal_stack_temp = 0;
  fcData.internal_stack_pressure = 0;

  uint16_t step;
  float step2;

  #define AVG_ACCEL 128
  float accelsMeas[AVG_ACCEL];
  AxesRaw_t accel01;
  uint8_t avgCount = 0;
  accelData.velocity = 0;

  LIS3DH_SetODR(LIS3DH_ODR_100Hz);
  LIS3DH_SetMode(LIS3DH_NORMAL);
  LIS3DH_SetFullScale(LIS3DH_FULLSCALE_2); // That is +-2g
  LIS3DH_SetAxis(LIS3DH_X_ENABLE | LIS3DH_Y_ENABLE | LIS3DH_Z_ENABLE);

  // Need to calculate an offset
  #define AVG_OFFSET 512
  float offSets[3] = { 0 };
  for (int i = 0; i < AVG_OFFSET; i++) {
    LIS3DH_GetAccAxesRaw(&accel01);
    offSets[0] += (float)accel01.AXIS_X / AVG_OFFSET;
    offSets[1] += (float)accel01.AXIS_Y / AVG_OFFSET;
    offSets[2] += (float)accel01.AXIS_Z / AVG_OFFSET;
  }

  uint32_t time = HAL_GetTick();

  for (;;) {
    configReg.channel = CHANNEL_AIN0_GND;
    ADS1115_updateConfig(pADS_1, configReg);
    osDelay(DELAY_FOR_CHANNEL_SWITCH);
    step = ADS1115_getData(pADS_1);
    step2 = step * VOLT_CONVERSION;
    fcData.internal_stack_temp = VOLT_2_TEMP(step2);

    configReg.channel = CHANNEL_AIN1_GND;
    ADS1115_updateConfig(pADS_1, configReg);
    osDelay(DELAY_FOR_CHANNEL_SWITCH);
    fcData.internal_stack_pressure = VOLT_2_PRES(
        ADS1115_getData(pADS_1) * VOLT_CONVERSION / TRANSFER_FUNC_P);

    LIS3DH_GetAccAxesRaw(&accel01);
    accelData.x = (accel01.AXIS_X - offSets[0]) * MEAS_TO_ACCEL;
    accelData.y = (accel01.AXIS_Y - offSets[1]) * MEAS_TO_ACCEL;
    accelData.z = (accel01.AXIS_Z - offSets[2]) * MEAS_TO_ACCEL;
    accelsMeas[avgCount++] = sqrt(
        powf(accelData.x, 2) + powf(accelData.y, 2)); // + powf(accelData.z, 2));
    if (avgCount == AVG_ACCEL) {
      avgCount = 0;
      for (uint8_t i = 0; i < AVG_ACCEL; i++) {
        accelData.accelAvg += accelsMeas[i] / AVG_ACCEL;
      }
      accelData.velocity +=
          (accelData.accelAvg) * (HAL_GetTick() - time) / 1000;
      time = HAL_GetTick();
      printf(
          "Accel x: %2.4f\r\nAccel y: %2.4f\r\nAccel z: %2.4f\r\nMag: %2.6f\x1b[H",
          accelData.x, accelData.y, accelData.z,
          accelData.velocity);
    }

    osDelay(10);
  }
  /* USER CODE END StartI2cTask */
}

void StartFuelCellTask(void *argument) {
  /* USER CODE BEGIN StartFuelCellTask */
  UNUSED(argument);

  enum { STBY, STRTP, CHRGE, RUN };

  HAL_StatusTypeDef hal_stat;
  uint8_t relay_config_set[4] = {0, 0, 0, 0};
  uint32_t purge_timer = HAL_GetTick();

  /* Infinite loop */
  for (;;) {
    switch (fc_state) {
    case FUEL_CELL_OFF_STATE:
      // Ensure flags for other configs are not set
      relay_config_set[STRTP] = relay_config_set[CHRGE] =
          relay_config_set[RUN] = 0;
      latest_voltage_got = 0;

      // Set valves to both off
      HAL_GPIO_WritePin(PURGE_VLVE_GPIO_Port, PURGE_VLVE_Pin, GPIO_PIN_RESET);
      HAL_GPIO_WritePin(SUPPLY_VLVE_GPIO_Port, SUPPLY_VLVE_Pin, GPIO_PIN_RESET);

      // If the relay board hasn't confirmed the stby configuration
      if (relay_config_set[STBY] == 0) {
        hal_stat = HAL_CAN_SafeAddTxMessage(
            (uint8_t *)&rb_state.RELAY_STBY,
            (uint32_t)RELAY_CONFIGURATION_PACKET, 4UL, &TxMailboxFuelCellTask,
            (uint32_t)CAN_RTR_DATA);
        if (hal_stat == HAL_OK) {
          // Wait up to 5 seconds to get the configuration confirmation
          if (osSemaphoreAcquire(relayUpdateConfirmedHandle,
                                 CAN_MESSAGE_SENT_TIMEOUT_MS) == osOK) {
            // printf("Relay board confirmed updated config\r\n");
            relay_config_set[STBY] = 1;
          } else {
            // printf("Relay board did not confirm updated config\r\n");
            relay_config_set[STBY] = 0;
          }
        }
      }

      break;
    case FUEL_CELL_STRTUP_STATE:
      // Ensure flags for other configs are not set
      relay_config_set[STBY] = relay_config_set[CHRGE] = relay_config_set[RUN] =
          0;
      if (relay_config_set[STRTP] == 0) {
        hal_stat = HAL_CAN_SafeAddTxMessage(
            (uint8_t *)&rb_state.RELAY_STRTP,
            (uint32_t)RELAY_CONFIGURATION_PACKET, 4UL, &TxMailboxFuelCellTask,
            (uint32_t)CAN_RTR_DATA);
        if (hal_stat == HAL_OK) {
          // Wait up to 5 seconds to get the configuration confirmation
          if (osSemaphoreAcquire(relayUpdateConfirmedHandle,
                                 CAN_MESSAGE_SENT_TIMEOUT_MS) == osOK) {
            printf("Relay board confirmed update config\r\n");

            // Start the hydrogen supply and purge for PURGE_TIME
            HAL_GPIO_WritePin(SUPPLY_VLVE_GPIO_Port, SUPPLY_VLVE_Pin,
                              GPIO_PIN_SET);
            HAL_GPIO_WritePin(PURGE_VLVE_GPIO_Port, PURGE_VLVE_Pin,
                              GPIO_PIN_SET);
            osDelay(PURGE_TIME);
            HAL_GPIO_WritePin(PURGE_VLVE_GPIO_Port, PURGE_VLVE_Pin,
                              GPIO_PIN_RESET);

            fc_state = FUEL_CELL_CHRGE_STATE;
            relay_config_set[STRTP] = 1;

          } else {
            printf("Relay board did not confirm updated config\r\n");
            relay_config_set[STRTP] = 0;
          }
        }
      }
      break;
    case FUEL_CELL_CHRGE_STATE:
      relay_config_set[STBY] = relay_config_set[STRTP] = relay_config_set[RUN] =
          0;
      if (relay_config_set[CHRGE] == 0) {
        hal_stat = HAL_CAN_SafeAddTxMessage(
            (uint8_t *)&rb_state.RELAY_CHRGE,
            (uint32_t)RELAY_CONFIGURATION_PACKET, 4UL, &TxMailboxFuelCellTask,
            (uint32_t)CAN_RTR_DATA);
        if (hal_stat == HAL_OK) {
          if (osSemaphoreAcquire(relayUpdateConfirmedHandle,
                                 CAN_MESSAGE_SENT_TIMEOUT_MS) == osOK) {
            printf("Relay board confirmed update config\r\n");
            relay_config_set[CHRGE] = 1;
          } else {
            printf("Relay board did not confirm updated config\r\n");
            relay_config_set[CHRGE] = 0;
          }
        }
      } else {
        if (canData.cap_voltage >= FULL_CAP_CHARGE_V &&
            (latest_voltage_got == 1)) {
          fc_state = FUEL_CELL_RUN_STATE;
        } else {
          // keep requesting new cap voltages
          hal_stat = HAL_CAN_SafeAddTxMessage(NULL, (uint32_t)CAPACITOR_PACKET,
                                              0UL, &TxMailboxFuelCellTask,
                                              (uint32_t)CAN_RTR_REMOTE);
          HAL_CAN_SafeAddTxMessage(NULL, FUEL_CELL_PACKET, 0UL,
                                   &TxMailboxFuelCellTask, CAN_RTR_REMOTE);
        }
      }
      break;
    case FUEL_CELL_RUN_STATE:
      relay_config_set[STBY] = relay_config_set[STRTP] =
          relay_config_set[CHRGE] = 0;
      if (relay_config_set[RUN] == 0) {
        hal_stat = HAL_CAN_SafeAddTxMessage(
            (uint8_t *)&rb_state.RELAY_RUN,
            (uint32_t)RELAY_CONFIGURATION_PACKET, 4UL, &TxMailboxFuelCellTask,
            (uint32_t)CAN_RTR_DATA);
        if (hal_stat == HAL_OK) {
          if (osSemaphoreAcquire(relayUpdateConfirmedHandle,
                                 CAN_MESSAGE_SENT_TIMEOUT_MS) == osOK) {
            printf("Relay board confirmed update config\r\n");
            relay_config_set[RUN] = 1;
          } else {
            printf("Relay board did not confirm updated config\r\n");
            relay_config_set[RUN] = 0;
          }
        }
      } else {
        HAL_CAN_SafeAddTxMessage(NULL, FUEL_CELL_PACKET, 0UL,
                                 &TxMailboxFuelCellTask, CAN_RTR_REMOTE);
        if (HAL_GetTick() - purge_timer >= PURGE_PERIOD) {
          purge_timer = HAL_GetTick();
          osSemaphoreRelease(purgeSemHandle);
        }
      }
      break;
    }
    osDelay(10);
  }
  /* USER CODE END StartFuelCellTask */
}

void StartCanRtrTask(void *argument) {
  /* USER CODE BEGIN StartCanRtrTask */
  UNUSED(argument);

  HAL_StatusTypeDef hal_stat;
  uint32_t queueData = 0;
  float floatPackage[2];
  /* Infinite loop */
  for (;;) {
    if (osMessageQueueGet(canRxRtrQueueHandle, &queueData, 0U, osWaitForever) ==
        osOK) {
      switch (queueData) {
      case INTERNAL_FUEL_CELL_PACKET:
        floatPackage[0] = fcData.internal_stack_pressure;
        floatPackage[1] = fcData.internal_stack_temp;
        hal_stat = HAL_CAN_SafeAddTxMessage((uint8_t *)&floatPackage,
                                            INTERNAL_FUEL_CELL_PACKET, 8UL,
                                            &TxMailboxCanTask, CAN_RTR_DATA);
        if (hal_stat == HAL_ERROR) {
          error_counter++;
        }
        break;
      case ACCELERATION_2_PACKET:
        floatPackage[0] = accelData.accelAvg;
        floatPackage[1] = accelData.velocity;
        hal_stat = HAL_CAN_SafeAddTxMessage((uint8_t *)&floatPackage,
                                            ACCELERATION_2_PACKET, 8UL,
                                            &TxMailboxCanTask, CAN_RTR_DATA);
        break;
      default:
        // this shouldn't happen
        break;
      }
    }
    osDelay(10);
  }
  /* USER CODE END StartCanRtrTask */
}

void StartPurgeTask(void *argument) {
  /* USER CODE BEGIN StartPurgeTask */
  UNUSED(argument);

  /* Infinite loop */
  for (;;) {
    if (osSemaphoreAcquire(purgeSemHandle, osWaitForever) == osOK) {
      HAL_GPIO_WritePin(PURGE_VLVE_GPIO_Port, PURGE_VLVE_Pin, GPIO_PIN_SET);
      osDelay(PURGE_TIME);
      HAL_GPIO_WritePin(PURGE_VLVE_GPIO_Port, PURGE_VLVE_Pin, GPIO_PIN_RESET);
    }
    osDelay(1);
  }
  /* USER CODE END StartPurgeTask */
}

void HAL_TIM_PeriodElapsedCallback(TIM_HandleTypeDef *htim) {
  if (htim->Instance == TIM1) {
    HAL_IncTick();
  }
}

void Error_Handler(void) {
  /* USER CODE BEGIN Error_Handler_Debug */
  /* User can add his own implementation to report the HAL error return state
   */
  __disable_irq();
  while (1) {
    printf("Error Handler Triggered\r\n");
  }
  /* USER CODE END Error_Handler_Debug */
}

#ifdef USE_FULL_ASSERT
/**
 * @brief  Reports the name of the source file and the source line number
 *         where the assert_param error has occurred.
 * @param  file: pointer to the source file name
 * @param  line: assert_param error line source number
 * @retval None
 */
void assert_failed(uint8_t *file, uint32_t line) {
  /* USER CODE BEGIN 6 */
  /* User can add his own implementation to report the file name and line
     number, ex: printf("Wrong parameters value: file %s on line %d\r\n",
     file, line) */
  /* USER CODE END 6 */
}
#endif /* USE_FULL_ASSERT */
